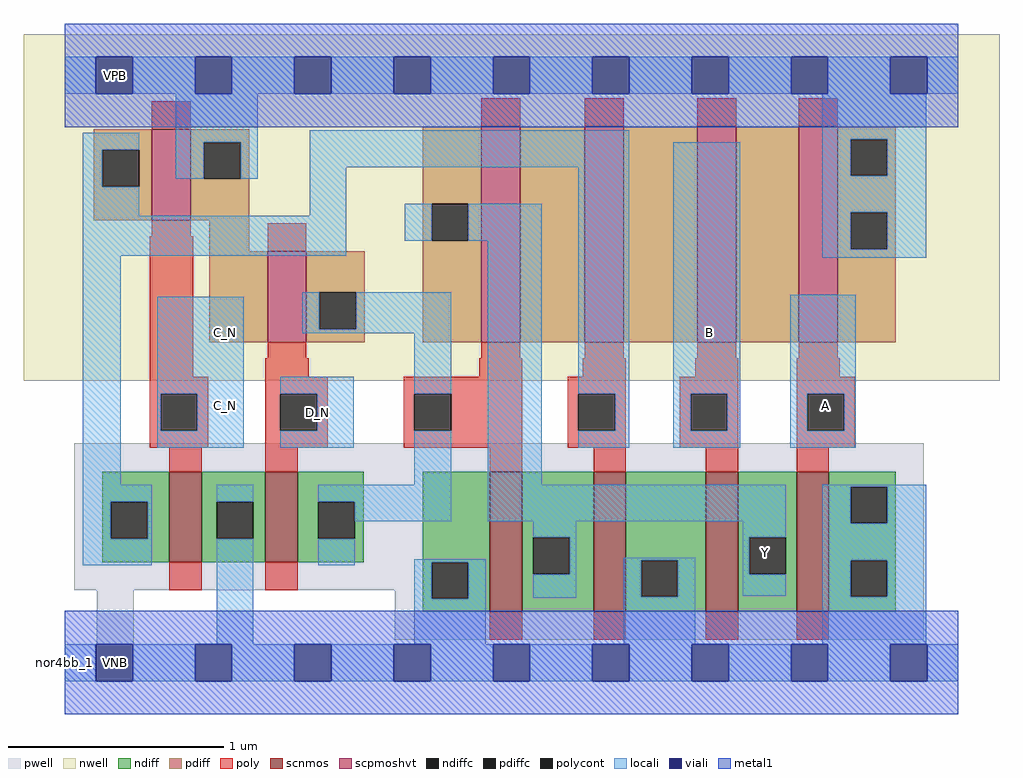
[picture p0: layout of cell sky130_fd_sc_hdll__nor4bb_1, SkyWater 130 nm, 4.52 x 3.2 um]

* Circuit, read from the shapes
.subckt sky130_fd_sc_hdll__nor4bb_1 A B C_N D_N VGND VNB VPB VPWR Y
XM1 VGND C_N n1 VNB sky130_fd_pr__nfet_01v8 w=0.42 l=0.15
XM2 n2 D_N VGND VNB sky130_fd_pr__nfet_01v8 w=0.42 l=0.15
XM3 Y n2 VGND VNB sky130_fd_pr__nfet_01v8 w=0.65 l=0.15
XM4 VGND n1 Y VNB sky130_fd_pr__nfet_01v8 w=0.65 l=0.15
XM5 Y B VGND VNB sky130_fd_pr__nfet_01v8 w=0.65 l=0.15
XM6 VGND A Y VNB sky130_fd_pr__nfet_01v8 w=0.65 l=0.15
XM7 VPWR C_N n1 VPB sky130_fd_pr__pfet_01v8_hvt w=0.42 l=0.18
XM8 n2 D_N VPWR VPB sky130_fd_pr__pfet_01v8_hvt w=0.42 l=0.18
XM9 n3 n2 Y VPB sky130_fd_pr__pfet_01v8_hvt w=1 l=0.18
XM10 n4 n1 n3 VPB sky130_fd_pr__pfet_01v8_hvt w=1 l=0.18
XM11 n5 B n4 VPB sky130_fd_pr__pfet_01v8_hvt w=1 l=0.18
XM12 VPWR A n5 VPB sky130_fd_pr__pfet_01v8_hvt w=1 l=0.18
.ends

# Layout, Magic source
magic
tech sky130A
magscale 1 2
<< nwell >>
rect -38 261 866 582
<< pwell >>
rect 9 67 796 203
rect 30 -17 64 67
rect 306 21 796 67
<< scnmos >>
rect 97 93 127 177
rect 186 93 216 177
rect 394 47 424 177
rect 490 47 520 177
rect 594 47 624 177
rect 678 47 708 177
<< scpmoshvt >>
rect 81 410 117 494
rect 188 297 224 381
rect 386 297 422 497
rect 482 297 518 497
rect 586 297 622 497
rect 680 297 716 497
<< ndiff >>
rect 35 149 97 177
rect 35 115 43 149
rect 77 115 97 149
rect 35 93 97 115
rect 127 149 186 177
rect 127 115 141 149
rect 175 115 186 149
rect 127 93 186 115
rect 216 149 277 177
rect 216 115 235 149
rect 269 115 277 149
rect 216 93 277 115
rect 332 93 394 177
rect 332 59 340 93
rect 374 59 394 93
rect 332 47 394 59
rect 424 116 490 177
rect 424 82 434 116
rect 468 82 490 116
rect 424 47 490 82
rect 520 95 594 177
rect 520 61 534 95
rect 568 61 594 95
rect 520 47 594 61
rect 624 116 678 177
rect 624 82 634 116
rect 668 82 678 116
rect 624 47 678 82
rect 708 163 770 177
rect 708 129 728 163
rect 762 129 770 163
rect 708 95 770 129
rect 708 61 728 95
rect 762 61 770 95
rect 708 47 770 61
<< pdiff >>
rect 27 475 81 494
rect 27 441 35 475
rect 69 441 81 475
rect 27 410 81 441
rect 117 482 171 494
rect 117 448 129 482
rect 163 448 171 482
rect 117 410 171 448
rect 134 381 171 410
rect 332 425 386 497
rect 332 391 340 425
rect 374 391 386 425
rect 134 297 188 381
rect 224 343 278 381
rect 224 309 236 343
rect 270 309 278 343
rect 224 297 278 309
rect 332 297 386 391
rect 422 297 482 497
rect 518 297 586 497
rect 622 297 680 497
rect 716 485 770 497
rect 716 451 728 485
rect 762 451 770 485
rect 716 417 770 451
rect 716 383 728 417
rect 762 383 770 417
rect 716 297 770 383
<< ndiffc >>
rect 43 115 77 149
rect 141 115 175 149
rect 235 115 269 149
rect 340 59 374 93
rect 434 82 468 116
rect 534 61 568 95
rect 634 82 668 116
rect 728 129 762 163
rect 728 61 762 95
<< pdiffc >>
rect 35 441 69 475
rect 129 448 163 482
rect 340 391 374 425
rect 236 309 270 343
rect 728 451 762 485
rect 728 383 762 417
<< poly >>
rect 81 494 117 520
rect 386 497 422 523
rect 482 497 518 523
rect 586 497 622 523
rect 680 497 716 523
rect 81 395 117 410
rect 79 265 119 395
rect 188 381 224 407
rect 188 282 224 297
rect 386 282 422 297
rect 482 282 518 297
rect 586 282 622 297
rect 680 282 716 297
rect 186 265 226 282
rect 384 265 424 282
rect 480 265 520 282
rect 584 265 624 282
rect 79 249 133 265
rect 79 215 89 249
rect 123 215 133 249
rect 79 199 133 215
rect 186 249 244 265
rect 186 215 200 249
rect 234 215 244 249
rect 186 199 244 215
rect 314 249 424 265
rect 314 215 324 249
rect 358 215 424 249
rect 314 199 424 215
rect 466 249 520 265
rect 466 215 476 249
rect 510 215 520 249
rect 466 199 520 215
rect 570 249 624 265
rect 570 215 580 249
rect 614 215 624 249
rect 570 199 624 215
rect 97 177 127 199
rect 186 177 216 199
rect 394 177 424 199
rect 490 177 520 199
rect 594 177 624 199
rect 678 265 718 282
rect 678 249 732 265
rect 678 215 688 249
rect 722 215 732 249
rect 678 199 732 215
rect 678 177 708 199
rect 97 67 127 93
rect 186 67 216 93
rect 394 21 424 47
rect 490 21 520 47
rect 594 21 624 47
rect 678 21 708 47
<< polycont >>
rect 89 215 123 249
rect 200 215 234 249
rect 324 215 358 249
rect 476 215 510 249
rect 580 215 614 249
rect 688 215 722 249
<< locali >>
rect 0 527 29 561
rect 63 527 121 561
rect 155 527 213 561
rect 247 527 305 561
rect 339 527 397 561
rect 431 527 489 561
rect 523 527 581 561
rect 615 527 673 561
rect 707 527 765 561
rect 799 527 828 561
rect 17 475 69 491
rect 17 441 35 475
rect 103 482 179 527
rect 103 448 129 482
rect 163 448 179 482
rect 227 459 523 493
rect 702 485 798 527
rect 17 414 69 441
rect 227 414 261 459
rect 17 377 261 414
rect 315 391 340 425
rect 374 391 442 425
rect 17 165 52 377
rect 86 249 166 339
rect 220 309 236 343
rect 270 309 358 343
rect 220 305 358 309
rect 86 215 89 249
rect 123 215 166 249
rect 86 199 166 215
rect 200 249 268 265
rect 234 215 268 249
rect 200 199 268 215
rect 324 249 358 305
rect 324 165 358 215
rect 17 149 81 165
rect 17 115 43 149
rect 77 115 81 149
rect 17 90 81 115
rect 141 149 175 165
rect 141 17 175 115
rect 235 149 358 165
rect 269 131 358 149
rect 392 165 442 391
rect 476 249 523 459
rect 510 215 523 249
rect 476 199 523 215
rect 564 249 626 482
rect 702 451 728 485
rect 762 451 798 485
rect 702 417 798 451
rect 702 383 728 417
rect 762 383 798 417
rect 702 375 798 383
rect 564 215 580 249
rect 614 215 626 249
rect 564 199 626 215
rect 672 249 733 341
rect 672 215 688 249
rect 722 215 733 249
rect 672 199 733 215
rect 392 131 668 165
rect 235 90 269 115
rect 434 116 474 131
rect 324 93 390 96
rect 324 59 340 93
rect 374 59 390 93
rect 468 82 474 116
rect 628 116 668 131
rect 434 60 474 82
rect 518 95 584 97
rect 518 61 534 95
rect 568 61 584 95
rect 628 82 634 116
rect 628 62 668 82
rect 702 163 798 165
rect 702 129 728 163
rect 762 129 798 163
rect 702 95 798 129
rect 324 17 390 59
rect 518 17 584 61
rect 702 61 728 95
rect 762 61 798 95
rect 702 17 798 61
rect 0 -17 29 17
rect 63 -17 121 17
rect 155 -17 213 17
rect 247 -17 305 17
rect 339 -17 397 17
rect 431 -17 489 17
rect 523 -17 581 17
rect 615 -17 673 17
rect 707 -17 765 17
rect 799 -17 828 17
<< viali >>
rect 29 527 63 561
rect 121 527 155 561
rect 213 527 247 561
rect 305 527 339 561
rect 397 527 431 561
rect 489 527 523 561
rect 581 527 615 561
rect 673 527 707 561
rect 765 527 799 561
rect 29 -17 63 17
rect 121 -17 155 17
rect 213 -17 247 17
rect 305 -17 339 17
rect 397 -17 431 17
rect 489 -17 523 17
rect 581 -17 615 17
rect 673 -17 707 17
rect 765 -17 799 17
<< metal1 >>
rect 0 561 828 592
rect 0 527 29 561
rect 63 527 121 561
rect 155 527 213 561
rect 247 527 305 561
rect 339 527 397 561
rect 431 527 489 561
rect 523 527 581 561
rect 615 527 673 561
rect 707 527 765 561
rect 799 527 828 561
rect 0 496 828 527
rect 0 17 828 48
rect 0 -17 29 17
rect 63 -17 121 17
rect 155 -17 213 17
rect 247 -17 305 17
rect 339 -17 397 17
rect 431 -17 489 17
rect 523 -17 581 17
rect 615 -17 673 17
rect 707 -17 765 17
rect 799 -17 828 17
rect 0 -48 828 -17
<< labels >>
flabel locali s 688 221 722 255 0 FreeSans 400 0 0 0 A
port 1 nsew signal input
flabel locali s 132 289 166 323 0 FreeSans 400 0 0 0 C_N
port 3 nsew signal input
flabel locali s 132 221 166 255 0 FreeSans 400 0 0 0 C_N
port 3 nsew signal input
flabel locali s 200 199 268 265 0 FreeSans 400 0 0 0 D_N
port 4 nsew signal input
flabel locali s 580 289 614 323 0 FreeSans 400 0 0 0 B
port 2 nsew signal input
flabel locali s 632 85 666 119 0 FreeSans 200 0 0 0 Y
port 9 nsew signal output
flabel pwell s 30 -17 64 17 0 FreeSans 200 0 0 0 VNB
port 6 nsew ground bidirectional
flabel nwell s 30 527 64 561 0 FreeSans 200 0 0 0 VPB
port 7 nsew power bidirectional
flabel metal1 s 30 -17 64 17 0 FreeSans 200 0 0 0 VGND
port 5 nsew ground bidirectional
flabel metal1 s 30 527 64 561 0 FreeSans 200 0 0 0 VPWR
port 8 nsew power bidirectional
rlabel comment s 0 0 0 0 4 nor4bb_1
<< properties >>
string LEFsite unithd
string LEFclass CORE
string FIXED_BBOX 0 0 828 544
string GDS_FILE $PDKPATH/libs.ref/sky130_fd_sc_hdll/gds/sky130_fd_sc_hdll.gds
string LEFsymmetry X Y R90
string GDS_END 1492114
string GDS_START 1485626
string LEFproperties maskLayoutSubType "abstract" prCellType "standard" originalViewName "layout"
<< end >>
